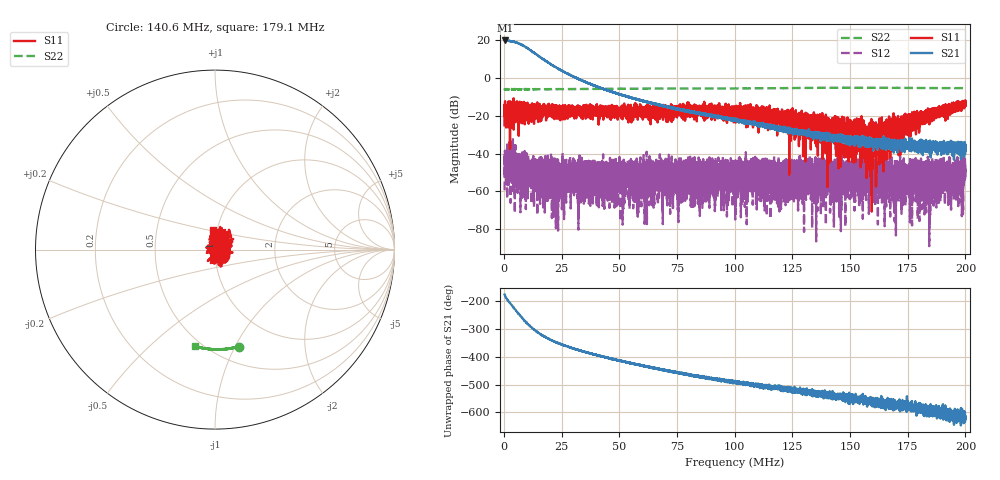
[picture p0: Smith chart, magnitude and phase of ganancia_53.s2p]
# Hz S DB R 50
! CMT, M5065, 19127446, 24.2.4/2
! Date: 11/8/2024 4:16:06 PM
! Data: Format (Calibration Info)
! Freq	S11:dB/Ang(F2)	S21:dB/Ang(F2)	S12:dB/Ang(F2)	S22:dB/Ang(F2)
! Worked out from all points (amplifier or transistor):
!   9000 points, 300 kHz to 200 MHz, reference 50 ohm
!   highest |S21| = 20.0 dB at 455.3 kHz (marker M1)
!   |S21| within 3 dB of that: start of sweep to 8.74 MHz
!   unconditionally stable (mu >= 1): start of sweep to end of sweep
!   at 33.59 MHz: K = 120.32, MAG = 0.3 dB, |S12| = -49.4 dB
!   at 100.2 MHz: K = 717.01, MAG = -20.6 dB, |S12| = -44.1 dB
!   at 200 MHz: K = 6145.11, MAG = -34.6 dB, |S12| = -48.9 dB
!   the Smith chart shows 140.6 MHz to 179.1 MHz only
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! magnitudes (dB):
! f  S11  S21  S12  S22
! 300 kHz  -25.0  20.0  -59.4  -5.8
! 455.3 kHz  -14.5  20.0  -38.4  -5.8
! 1.321 MHz  -16.7  19.9  -38.6  -5.7
! 18.01 MHz  -17.6  9.2  -60.7  -5.8
! 33.59 MHz  -17.7  -1.1  -49.4  -5.7
! 66.87 MHz  -17.4  -13.9  -52.6  -5.5
! 72.27 MHz  -16.3  -15.3  -54.5  -5.5
! 78.86 MHz  -17.8  -17.0  -52.7  -5.5
! 85.91 MHz  -17.2  -18.8  -48.3  -5.4
! 95.35 MHz  -17.8  -21.4  -47.5  -5.4
! 100.2 MHz  -20.8  -22.1  -44.1  -5.4
! 101.7 MHz  -20.1  -22.0  -56.7  -5.4
! 103.7 MHz  -18.6  -23.0  -52.1  -5.4
! 133.4 MHz  -20.8  -30.4  -44.7  -5.2
! 150.1 MHz  -30.1  -32.5  -50.0  -5.1
! 154.7 MHz  -26.2  -32.4  -42.6  -5.1
! 157.6 MHz  -32.7  -34.0  -52.9  -5.1
! 166.7 MHz  -33.0  -34.3  -60.7  -5.1
! 180.4 MHz  -24.8  -36.4  -60.1  -5.2
! 196.5 MHz  -15.2  -35.6  -44.9  -5.2
! 198 MHz  -13.2  -42.9  -48.9  -5.3
! 200 MHz  -14.5  -36.3  -48.9  -5.3
